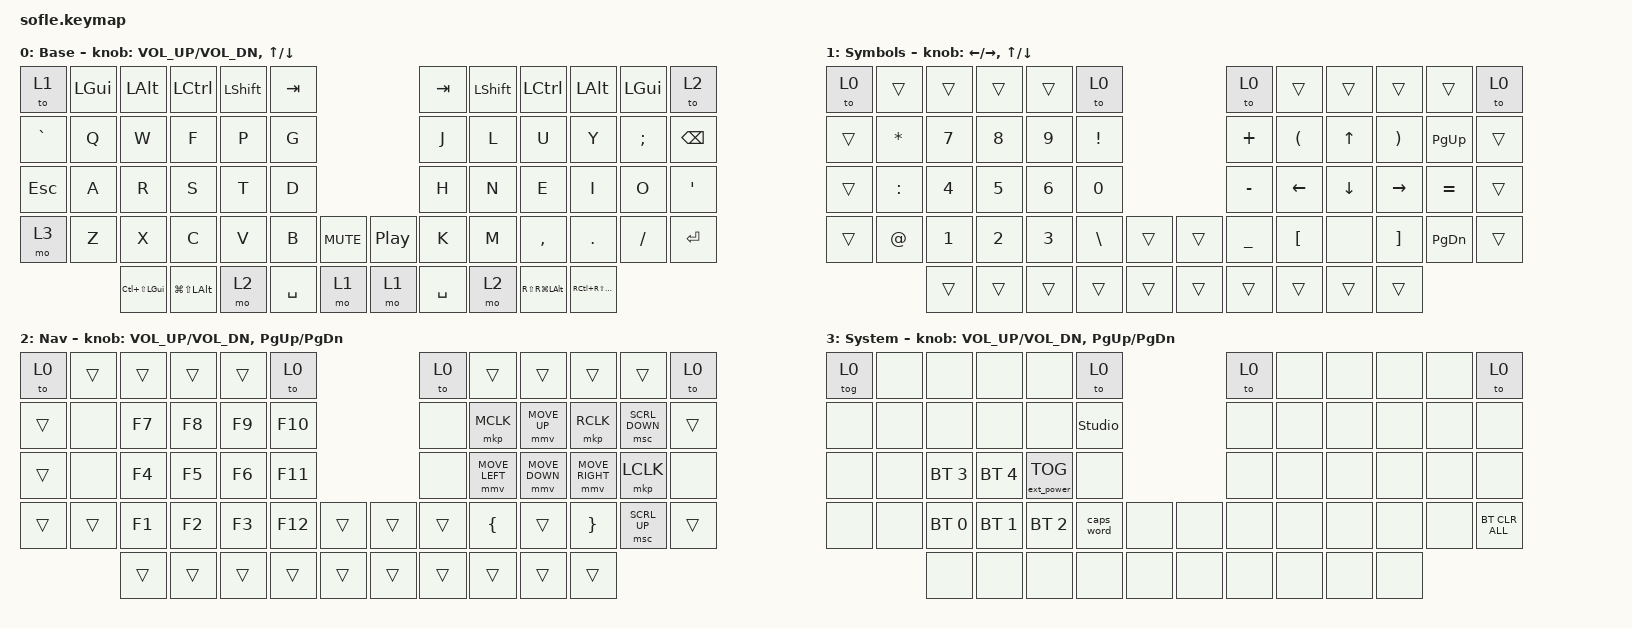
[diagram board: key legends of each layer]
/*
 * Copyright (c) 2020 The ZMK Contributors
 *
 * SPDX-License-Identifier: MIT
 */

#include <behaviors.dtsi>
#include <dt-bindings/zmk/bt.h>
#include <dt-bindings/zmk/ext_power.h>
#include <dt-bindings/zmk/keys.h>
#include <dt-bindings/zmk/pointing.h>

// Encoders

&sensors { triggers-per-rotation = <30>; };

&left_encoder { steps = <60>; };

&right_encoder { steps = <60>; };

#define BASE 0
#define LOWER 1
#define RAISE 2
#define ADJUST 3

/ {
    // Activate ADJUST layer by pressing raise and lower

    conditional_layers { compatible = "zmk,conditional-layers"; };

    combos { compatible = "zmk,combos"; };

    behaviors {
        caps: caps {
            compatible = "zmk,behavior-caps-word";
            label = "CAPS";
            #binding-cells = <0>;
            continue-list = <POUND MINUS BACKSPACE UNDERSCORE>;
        };
    };

    keymap {
        compatible = "zmk,keymap";

        default_layer {
            display-name = "Base";

            // ------------------------------------------------------------------------------------------------------------
            // |   `   |  1  |  2  |  3   |  4   |  5   |                   |  6   |  7    |  8    |  9   |   0   |       |
            // |  ESC  |  Q  |  W  |  E   |  R   |  T   |                   |  Y   |  U    |  I    |  O   |   P   | BKSPC |
            // |  TAB  |  A  |  S  |  D   |  F   |  G   |                   |  H   |  J    |  K    |  L   |   ;   |   '   |
            // | SHIFT |  Z  |  X  |  C   |  V   |  B   |  MUTE  |  |       |  N   |  M    |  ,    |  .   |   /   | SHIFT |
            //               | GUI | ALT  | CTRL | LOWER|  ENTER |  | SPACE | RAISE| CTRL  | ALT   | GUI  |

            bindings = <
&to 1      &kp LGUI  &kp LALT          &kp LCTRL         &kp LSHFT  &kp TAB                                    &kp TAB    &kp LSHFT  &kp LCTRL         &kp LALT          &kp LGUI  &to 2
&kp GRAVE  &kp Q     &kp W             &kp F             &kp P      &kp G                                      &kp J      &kp L      &kp U             &kp Y             &kp SEMI  &kp BSPC
&kp ESC    &kp A     &kp R             &kp S             &kp T      &kp D                                      &kp H      &kp N      &kp E             &kp I             &kp O     &kp APOS
&mo 3      &kp Z     &kp X             &kp C             &kp V      &kp B      &kp C_MUTE    &kp C_PLAY_PAUSE  &kp K      &kp M      &kp COMMA         &kp DOT           &kp FSLH  &kp RET
                     &kp LC(LS(LGUI))  &kp LG(LS(LALT))  &mo 2      &kp SPACE  &mo 1         &mo 1             &kp SPACE  &mo 2      &kp RS(RG(LALT))  &kp RC(RS(RGUI))
            >;

            sensor-bindings = <&inc_dec_kp C_VOL_UP C_VOL_DN &inc_dec_kp UP DOWN>;
        };

        num_nav {
            display-name = "Symbols";

            // TODO: Some binds are waiting for shifted keycode support.
            // ------------------------------------------------------------------------------------------------------------
            // |       |  F1 |  F2 |  F3  |  F4  |  F5  |                   |  F6  |  F7   |  F8   |  F9  |  F10  |  F11  |
            // |   `   |  1  |  2  |  3   |  4   |  5   |                   |  6   |  7    |  8    |  9   |   0   |  F12  |
            // |       |  !  |  @  |  #   |  $   |  %   |                   |  ^   |  &    |  *    |  (   |   )   |   |   |
            // |       |  =  |  -  |  +   |  {   |  }   |        |  |       |  [   |  ]    |  ;    |  :   |   \   |       |
            //               |     |      |      |      |        |  |       |      |       |       |      |

            bindings = <
&to 0   &trans     &trans  &trans  &trans  &to 0                       &to 0      &trans                &trans          &trans                 &trans         &to 0
&trans  &kp ASTRK  &kp N7  &kp N8  &kp N9  &kp EXCL                    &kp PLUS   &kp LEFT_PARENTHESIS  &kp UP_ARROW    &kp RIGHT_PARENTHESIS  &kp PAGE_UP    &trans
&trans  &kp COLON  &kp N4  &kp N5  &kp N6  &kp N0                      &kp MINUS  &kp LEFT              &kp DOWN_ARROW  &kp RIGHT              &kp EQUAL      &trans
&trans  &kp AT     &kp N1  &kp N2  &kp N3  &kp BSLH  &trans    &trans  &kp UNDER  &kp LEFT_BRACKET      &none           &kp RIGHT_BRACKET      &kp PAGE_DOWN  &trans
                   &trans  &trans  &trans  &trans    &trans    &trans  &trans     &trans                &trans          &trans
            >;

            sensor-bindings =
                <&inc_dec_kp LEFT_ARROW RIGHT_ARROW>,
                <&inc_dec_kp UP_ARROW DOWN_ARROW>;
        };

        fn_mouse {
            display-name = "Nav";

            // ------------------------------------------------------------------------------------------------------------
            // | BTCLR | BT1  | BT2  |  BT3  |  BT4  |  BT5 |                |      |      |       |      |       |       |
            // |       | INS  | PSCR | GUI   |       |      |                | PGUP |      |   ^   |      |       |       |
            // |       | ALT  | CTRL | SHIFT |       | CAPS |                | PGDN |   <- |   v   |  ->  |  DEL  | BKSPC |
            // |       | UNDO | CUT  | COPY  | PASTE |      |      |  |      |      |      |       |      |       |       |
            //                |      |       |       |      |      |  |      |      |      |       |      |

            bindings = <
&to 0   &trans  &trans  &trans  &trans  &to 0                      &to 0   &trans          &trans          &trans           &trans          &to 0
&trans  &none   &kp F7  &kp F8  &kp F9  &kp F10                    &none   &mkp MCLK       &mmv MOVE_UP    &mkp RCLK        &msc SCRL_DOWN  &trans
&trans  &none   &kp F4  &kp F5  &kp F6  &kp F11                    &none   &mmv MOVE_LEFT  &mmv MOVE_DOWN  &mmv MOVE_RIGHT  &mkp LCLK       &none
&trans  &trans  &kp F1  &kp F2  &kp F3  &kp F12  &trans    &trans  &trans  &kp LEFT_BRACE  &trans          &kp RIGHT_BRACE  &msc SCRL_UP    &trans
                &trans  &trans  &trans  &trans   &trans    &trans  &trans  &trans          &trans          &trans
            >;

            sensor-bindings = <&inc_dec_kp C_VOL_UP C_VOL_DN &inc_dec_kp PG_UP PG_DN>;
        };

        adjust_layer {
            // ----------------------------------------------------------------------------------------------------------------------------
            // | BTCLR  |  BT1    |  BT2    |   BT3   |   BT4   |   BT5   |                  |      |      |       |      |       |       |
            // | EXTPWR | RGB_HUD | RGB_HUI | RGB_SAD | RGB_SAI | RGB_EFF |                  |      |      |       |      |       |       |
            // |        | RGB_BRD | RGB_BRI |         |         |         |                  |      |      |       |      |       |       |
            // |        |         |         |         |         |         | RGB_TOG | |      |      |      |       |      |       |       |
            //                    |         |         |         |         |         | |      |      |      |       |      |

            display-name = "System";
            bindings = <
&tog 0  &none  &none         &none         &none              &to 0                           &to 0  &none  &none  &none  &none  &to 0
&none   &none  &none         &none         &none              &studio_unlock                  &none  &none  &none  &none  &none  &none
&none   &none  &bt BT_SEL 3  &bt BT_SEL 4  &ext_power EP_TOG  &none                           &none  &none  &none  &none  &none  &none
&none   &none  &bt BT_SEL 0  &bt BT_SEL 1  &bt BT_SEL 2       &caps_word      &none    &none  &none  &none  &none  &none  &none  &bt BT_CLR_ALL
               &none         &none         &none              &none           &none    &none  &none  &none  &none  &none
            >;

            sensor-bindings = <&inc_dec_kp C_VOL_UP C_VOL_DN &inc_dec_kp PG_UP PG_DN>;
        };
    };
};
